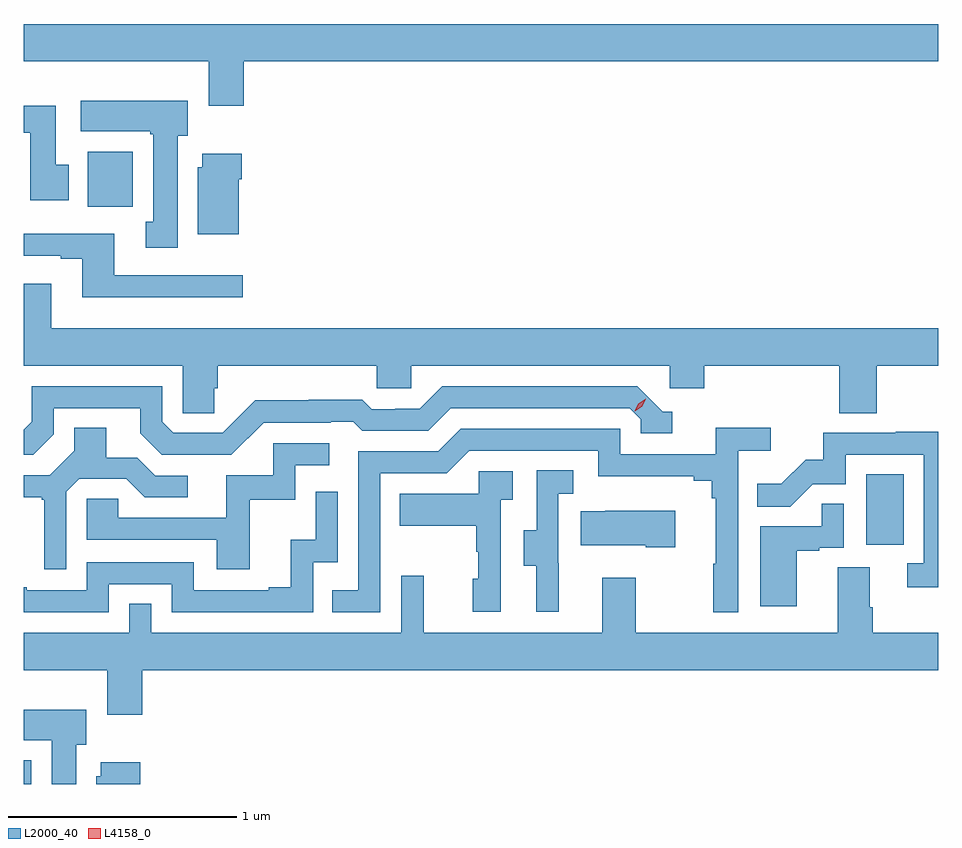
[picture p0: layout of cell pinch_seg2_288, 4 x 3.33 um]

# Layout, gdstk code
import gdstk
lib = gdstk.Library(unit=1e-6, precision=1e-09)
def R(c, l, rs):  # rectangles x0, y0, x1, y1
    for r in rs: c.add(gdstk.rectangle(r[:2], r[2:], *l))
def P(c, l, *ps):  # polygons
    for p in ps: c.add(gdstk.Polygon(p, *l))
L2000_40 = (2000, 40)
L4158_0 = (4158, 0)

pinch_seg2_288 = lib.new_cell('pinch_seg2_288')
R(pinch_seg2_288, L2000_40, [(937.789,640.478,937.821,640.582), (941.474,641.526,941.638,641.833), (938.069,643.004,938.266,643.246)])
P(pinch_seg2_288, L2000_40, [(938.75,643.64),(941.789,643.64),(941.789,643.804),(937.789,643.804),(937.789,643.64),(938.597,643.64),(938.597,643.446),(938.75,643.446)],
  [(938.461,643.314),(938.506,643.314),(938.506,643.468),(938.037,643.468),(938.037,643.334),(938.341,643.334),(938.341,643.321),(938.354,643.321),(938.354,642.938),(938.321,642.938),(938.321,642.825),(938.461,642.825)],
  [(937.984,643.188),(937.927,643.188),(937.927,643.447),(937.789,643.447),(937.789,643.328),(937.817,643.328),(937.817,643.032),(937.984,643.032)],
  [(938.728,643.124),(938.741,643.124),(938.741,643.237),(938.57,643.237),(938.57,643.176),(938.549,643.176),(938.549,642.884),(938.728,642.884)],
  [(938.746,642.705),(938.185,642.705),(938.185,642.886),(937.789,642.886),(937.789,642.789),(937.949,642.789),(937.949,642.777),(938.045,642.777),(938.045,642.608),(938.746,642.608)],
  [(938.621,642.21),(938.636,642.21),(938.636,642.308),(939.333,642.308),(939.333,642.21),(939.483,642.21),(939.483,642.308),(940.614,642.308),(940.614,642.21),(940.766,642.21),(940.766,642.308),(941.357,642.308),(941.357,642.1),(941.522,642.1),(941.522,642.308),(941.789,642.308),(941.789,642.472),(937.909,642.472),(937.909,642.667),(937.789,642.667),(937.789,642.308),(938.484,642.308),(938.484,642.1),(938.621,642.1)],
  [(937.92,642.009),(937.92,642.123),(938.297,642.123),(938.297,642.013),(938.391,641.919),(938.697,641.919),(938.838,642.06),(939.131,642.06),(939.131,642.063),(939.23,642.063),(939.269,642.024),(939.558,642.024),(939.657,642.123),(940.44,642.123),(940.488,642.075),(940.488,642.012),(940.627,642.012),(940.627,642.108),(940.584,642.108),(940.473,642.219),(939.62,642.219),(939.521,642.12),(939.414,642.12),(939.414,642.117),(939.311,642.117),(939.269,642.16),(939.036,642.16),(939.036,642.157),(938.8,642.157),(938.658,642.015),(938.442,642.015),(938.394,642.063),(938.394,642.219),(937.824,642.219),(937.824,642.063),(937.789,642.028),(937.789,641.919),(937.83,641.919)],
  [(939.348,641.838),(939.639,641.838),(939.738,641.937),(940.302,641.937),(940.302,641.825),(940.721,641.825),(940.721,641.806),(940.798,641.806),(940.798,641.729),(940.817,641.729),(940.817,641.441),(940.806,641.441),(940.806,641.229),(940.914,641.229),(940.914,641.936),(941.056,641.936),(941.056,642.038),(940.817,642.038),(940.817,641.922),(940.398,641.922),(940.398,642.033),(939.701,642.033),(939.602,641.934),(939.252,641.934),(939.252,641.325),(939.139,641.325),(939.139,641.229),(939.348,641.229)],
  [(937.974,641.757),(938.031,641.814),(938.237,641.814),(938.318,641.733),(938.506,641.733),(938.506,641.826),(938.364,641.826),(938.284,641.906),(938.149,641.906),(938.149,642.038),(938.009,642.038),(938.009,641.936),(937.902,641.829),(937.789,641.829),(937.789,641.732),(937.866,641.732),(937.866,641.721),(937.877,641.721),(937.877,641.418),(937.974,641.418)],
  [(941.789,642.02),(941.605,642.02),(941.605,642.015),(941.287,642.015),(941.287,641.898),(941.21,641.898),(941.103,641.791),(940.999,641.791),(940.999,641.692),(941.143,641.692),(941.241,641.79),(941.385,641.79),(941.385,641.919),(941.727,641.919),(941.727,641.445),(941.655,641.445),(941.655,641.34),(941.789,641.34)],
  [(938.777,641.721),(938.976,641.721),(938.976,641.874),(939.124,641.874),(939.124,641.97),(938.88,641.97),(938.88,641.829),(938.675,641.829),(938.675,641.643),(938.201,641.643),(938.201,641.727),(938.064,641.727),(938.064,641.547),(938.633,641.547),(938.633,641.418),(938.777,641.418)],
  [(940.13,641.445),(940.128,641.445),(940.128,641.749),(940.192,641.749),(940.192,641.852),(940.032,641.852),(940.032,641.589),(939.977,641.589),(939.977,641.434),(940.031,641.434),(940.031,641.232),(940.13,641.232)],
  [(939.876,641.723),(939.928,641.723),(939.928,641.847),(939.78,641.847),(939.78,641.749),(939.433,641.749),(939.433,641.609),(939.768,641.609),(939.768,641.495),(939.778,641.495),(939.778,641.376),(939.752,641.376),(939.752,641.232),(939.876,641.232)],
  [(938.16,641.352),(938.436,641.352),(938.436,641.229),(939.054,641.229),(939.054,641.448),(939.162,641.448),(939.162,641.758),(939.066,641.758),(939.066,641.546),(938.957,641.546),(938.957,641.338),(938.861,641.338),(938.861,641.325),(938.532,641.325),(938.532,641.448),(938.064,641.448),(938.064,641.325),(937.801,641.325),(937.801,641.338),(937.789,641.338),(937.789,641.229),(938.16,641.229)],
  [(941.17,641.499),(941.27,641.499),(941.27,641.511),(941.376,641.511),(941.376,641.705),(941.281,641.705),(941.281,641.607),(941.012,641.607),(941.012,641.256),(941.17,641.256)],
  [(940.639,641.674),(940.333,641.674),(940.333,641.671),(940.225,641.671),(940.225,641.522),(940.511,641.522),(940.511,641.515),(940.639,641.515)],
  [(938.306,640.976),(941.789,640.976),(941.789,641.14),(941.504,641.14),(941.504,641.252),(941.491,641.252),(941.491,641.426),(941.351,641.426),(941.351,641.14),(940.467,641.14),(940.467,641.38),(940.319,641.38),(940.319,641.14),(939.539,641.14),(939.539,641.389),(939.441,641.389),(939.441,641.14),(938.346,641.14),(938.346,641.267),(938.25,641.267),(938.25,641.14),(937.789,641.14),(937.789,640.976),(938.153,640.976),(938.153,640.782),(938.306,640.782)],
  [(938.017,640.65),(938.062,640.65),(938.062,640.804),(937.789,640.804),(937.789,640.67),(937.91,640.67),(937.91,640.478),(938.017,640.478)],
  [(938.297,640.573),(938.126,640.573),(938.126,640.512),(938.105,640.512),(938.105,640.478),(938.297,640.478)])
P(pinch_seg2_288, L4158_0, [(940.462,642.11),(940.462,642.111),(940.478,642.143),(940.509,642.163),(940.509,642.163),(940.509,642.162),(940.493,642.13),(940.462,642.11)])

lib.write_gds('pinch_seg2_288.gds')
